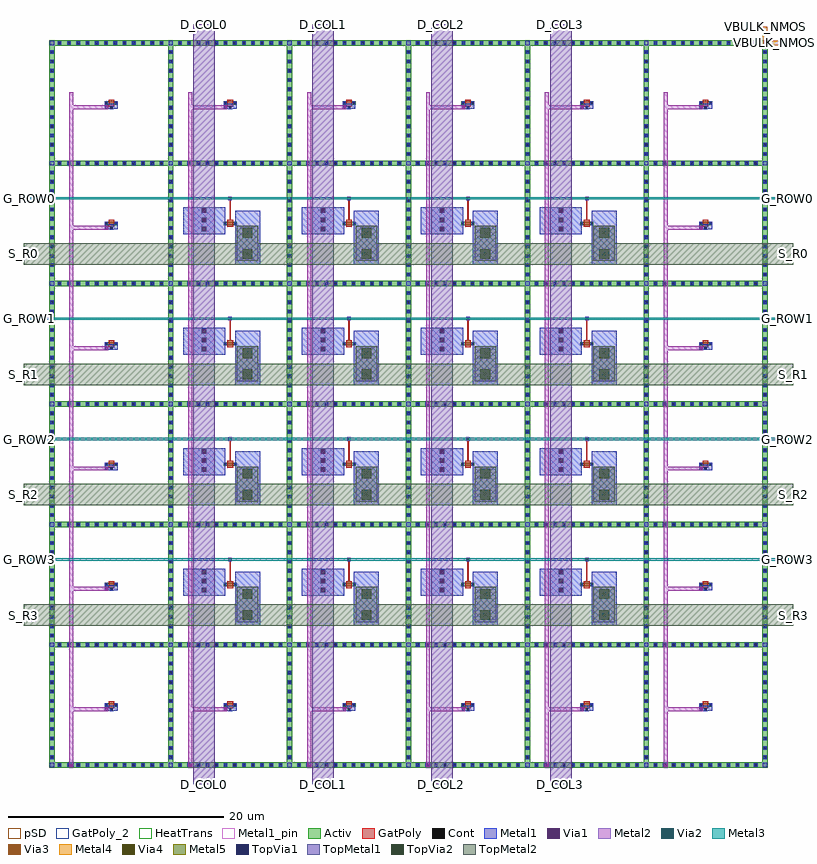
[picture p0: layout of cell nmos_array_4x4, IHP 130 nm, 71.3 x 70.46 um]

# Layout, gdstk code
import gdstk
lib = gdstk.Library(unit=1e-6, precision=1e-09)
def R(c, l, rs):  # rectangles x0, y0, x1, y1
    for r in rs: c.add(gdstk.rectangle(r[:2], r[2:], *l))
def A(c, l, x, y, w, h, nx, ny, dx, dy):  # array of equal rectangles
    R(c, l, [(x+i*dx, y+j*dy, x+i*dx+w, y+j*dy+h) for i in range(nx) for j in range(ny)])
Activ = (1, 0)
GatPoly = (5, 0)
GatPoly_2 = (5, 2)
Cont = (6, 0)
Metal1 = (8, 0)
Metal1_pin = (8, 2)
Metal2 = (10, 0)
pSD = (14, 0)
Via1 = (19, 0)
Via2 = (29, 0)
Metal3 = (30, 0)
Via3 = (49, 0)
Metal4 = (50, 0)
HeatTrans = (51, 0)
Via4 = (66, 0)
Metal5 = (67, 0)
TopVia1 = (125, 0)
TopMetal1 = (126, 0)
TopVia2 = (133, 0)
TopMetal2 = (134, 0)

nmos = lib.new_cell('nmos')
R(nmos, Activ, [(0,0,0.3,0.3), (0,0,1.2,0.3), (0.9,0,1.2,0.3)])
R(nmos, GatPoly, [(0.34,-0.18,0.86,0.48)])
R(nmos, GatPoly_2, [(0.34,-0.18,0.86,0.48)])
R(nmos, Cont, [(0.07,0.07,0.23,0.23), (0.97,0.07,1.13,0.23)])
R(nmos, Metal1, [(0.07,0,0.23,0.3), (0.97,0,1.13,0.3)])
R(nmos, Metal1_pin, [(0.07,0,0.23,0.3), (0.97,0,1.13,0.3)])
R(nmos, HeatTrans, [(0.34,-0.18,0.86,0.48)])
nmos.add(gdstk.Label('nmos', (0.6,0.15), layer=63, texttype=0))
nmos.add(gdstk.Label('nmos', (0.6,0.15), layer=51, texttype=0))

nmos_array_4x4 = lib.new_cell('nmos_array_4x4')
A(nmos_array_4x4, Activ, 0, 0, 0.5, 67.46, 7, 1, 11.02, 0)
A(nmos_array_4x4, Activ, 0, 0, 66.62, 0.5, 1, 7, 0, 11.16)
A(nmos_array_4x4, GatPoly, 5.695, 5.43, 0.13, 0.2, 6, 2, 11.02, 55.8)
A(nmos_array_4x4, GatPoly, 5.695, 16.59, 0.13, 0.2, 1, 4, 0, 11.16)
A(nmos_array_4x4, GatPoly, 60.795, 16.59, 0.13, 0.2, 1, 4, 0, 11.16)
A(nmos_array_4x4, GatPoly, 16.715, 17.32, 0.13, 2, 4, 4, 11.02, 11.16)
A(nmos_array_4x4, Cont, 0.858, 0.14, 0.22, 0.22, 1, 7, 0, 11.16)
A(nmos_array_4x4, Cont, 1.716, 0.14, 0.22, 0.22, 1, 7, 0, 11.16)
A(nmos_array_4x4, Cont, 2.575, 0.14, 0.22, 0.22, 3, 7, 0.858, 11.16)
A(nmos_array_4x4, Cont, 5.15, 0.14, 0.22, 0.22, 3, 7, 0.858, 11.16)
A(nmos_array_4x4, Cont, 7.725, 0.14, 0.22, 0.22, 3, 7, 0.858, 11.16)
A(nmos_array_4x4, Cont, 10.3, 0.14, 0.22, 0.22, 1, 7, 0, 11.16)
A(nmos_array_4x4, Cont, 12.02, 0.14, 0.22, 0.22, 3, 7, 0.845, 11.16)
A(nmos_array_4x4, Cont, 14.556, 0.14, 0.22, 0.22, 1, 7, 0, 11.16)
A(nmos_array_4x4, Cont, 15.401, 0.14, 0.22, 0.22, 1, 7, 0, 11.16)
A(nmos_array_4x4, Cont, 16.247, 0.14, 0.22, 0.22, 1, 7, 0, 11.16)
A(nmos_array_4x4, Cont, 17.092, 0.14, 0.22, 0.22, 1, 7, 0, 11.16)
A(nmos_array_4x4, Cont, 17.938, 0.14, 0.22, 0.22, 1, 7, 0, 11.16)
A(nmos_array_4x4, Cont, 18.783, 0.14, 0.22, 0.22, 1, 7, 0, 11.16)
A(nmos_array_4x4, Cont, 19.629, 0.14, 0.22, 0.22, 1, 7, 0, 11.16)
A(nmos_array_4x4, Cont, 20.474, 0.14, 0.22, 0.22, 1, 7, 0, 11.16)
A(nmos_array_4x4, Cont, 21.32, 0.14, 0.22, 0.22, 1, 7, 0, 11.16)
A(nmos_array_4x4, Cont, 23.04, 0.14, 0.22, 0.22, 3, 7, 0.845, 11.16)
A(nmos_array_4x4, Cont, 25.576, 0.14, 0.22, 0.22, 1, 7, 0, 11.16)
A(nmos_array_4x4, Cont, 26.421, 0.14, 0.22, 0.22, 1, 7, 0, 11.16)
A(nmos_array_4x4, Cont, 27.267, 0.14, 0.22, 0.22, 1, 7, 0, 11.16)
A(nmos_array_4x4, Cont, 28.112, 0.14, 0.22, 0.22, 1, 7, 0, 11.16)
A(nmos_array_4x4, Cont, 28.958, 0.14, 0.22, 0.22, 1, 7, 0, 11.16)
A(nmos_array_4x4, Cont, 29.803, 0.14, 0.22, 0.22, 1, 7, 0, 11.16)
A(nmos_array_4x4, Cont, 30.649, 0.14, 0.22, 0.22, 1, 7, 0, 11.16)
A(nmos_array_4x4, Cont, 31.494, 0.14, 0.22, 0.22, 1, 7, 0, 11.16)
A(nmos_array_4x4, Cont, 32.34, 0.14, 0.22, 0.22, 1, 7, 0, 11.16)
A(nmos_array_4x4, Cont, 34.06, 0.14, 0.22, 0.22, 3, 7, 0.845, 11.16)
A(nmos_array_4x4, Cont, 36.596, 0.14, 0.22, 0.22, 1, 7, 0, 11.16)
A(nmos_array_4x4, Cont, 37.441, 0.14, 0.22, 0.22, 1, 7, 0, 11.16)
A(nmos_array_4x4, Cont, 38.287, 0.14, 0.22, 0.22, 1, 7, 0, 11.16)
A(nmos_array_4x4, Cont, 39.132, 0.14, 0.22, 0.22, 1, 7, 0, 11.16)
A(nmos_array_4x4, Cont, 39.978, 0.14, 0.22, 0.22, 1, 7, 0, 11.16)
A(nmos_array_4x4, Cont, 40.823, 0.14, 0.22, 0.22, 1, 7, 0, 11.16)
A(nmos_array_4x4, Cont, 41.669, 0.14, 0.22, 0.22, 1, 7, 0, 11.16)
A(nmos_array_4x4, Cont, 42.514, 0.14, 0.22, 0.22, 1, 7, 0, 11.16)
A(nmos_array_4x4, Cont, 43.36, 0.14, 0.22, 0.22, 1, 7, 0, 11.16)
A(nmos_array_4x4, Cont, 45.08, 0.14, 0.22, 0.22, 3, 7, 0.845, 11.16)
A(nmos_array_4x4, Cont, 47.616, 0.14, 0.22, 0.22, 1, 7, 0, 11.16)
A(nmos_array_4x4, Cont, 48.461, 0.14, 0.22, 0.22, 1, 7, 0, 11.16)
A(nmos_array_4x4, Cont, 49.307, 0.14, 0.22, 0.22, 1, 7, 0, 11.16)
A(nmos_array_4x4, Cont, 50.152, 0.14, 0.22, 0.22, 1, 7, 0, 11.16)
A(nmos_array_4x4, Cont, 50.998, 0.14, 0.22, 0.22, 1, 7, 0, 11.16)
A(nmos_array_4x4, Cont, 51.843, 0.14, 0.22, 0.22, 1, 7, 0, 11.16)
A(nmos_array_4x4, Cont, 52.689, 0.14, 0.22, 0.22, 1, 7, 0, 11.16)
A(nmos_array_4x4, Cont, 53.534, 0.14, 0.22, 0.22, 1, 7, 0, 11.16)
A(nmos_array_4x4, Cont, 54.38, 0.14, 0.22, 0.22, 1, 7, 0, 11.16)
A(nmos_array_4x4, Cont, 56.1, 0.14, 0.22, 0.22, 3, 7, 0.845, 11.16)
A(nmos_array_4x4, Cont, 58.636, 0.14, 0.22, 0.22, 1, 7, 0, 11.16)
A(nmos_array_4x4, Cont, 59.481, 0.14, 0.22, 0.22, 1, 7, 0, 11.16)
A(nmos_array_4x4, Cont, 60.327, 0.14, 0.22, 0.22, 1, 7, 0, 11.16)
A(nmos_array_4x4, Cont, 61.172, 0.14, 0.22, 0.22, 1, 7, 0, 11.16)
A(nmos_array_4x4, Cont, 62.018, 0.14, 0.22, 0.22, 1, 7, 0, 11.16)
A(nmos_array_4x4, Cont, 62.863, 0.14, 0.22, 0.22, 1, 7, 0, 11.16)
A(nmos_array_4x4, Cont, 63.709, 0.14, 0.22, 0.22, 1, 7, 0, 11.16)
A(nmos_array_4x4, Cont, 64.554, 0.14, 0.22, 0.22, 1, 7, 0, 11.16)
A(nmos_array_4x4, Cont, 65.4, 0.14, 0.22, 0.22, 1, 7, 0, 11.16)
A(nmos_array_4x4, Cont, 0.14, 0.87, 0.22, 0.22, 7, 12, 11.02, 0.87)
A(nmos_array_4x4, Cont, 5.65, 5.32, 0.22, 0.22, 6, 2, 11.02, 55.8)
A(nmos_array_4x4, Cont, 0.14, 12.16, 0.22, 0.22, 7, 6, 11.02, 0.858)
A(nmos_array_4x4, Cont, 5.65, 16.48, 0.22, 0.22, 1, 4, 0, 11.16)
A(nmos_array_4x4, Cont, 60.75, 16.48, 0.22, 0.22, 1, 4, 0, 11.16)
A(nmos_array_4x4, Cont, 0.14, 17.309, 0.22, 0.22, 7, 5, 11.02, 0.858)
A(nmos_array_4x4, Cont, 16.67, 19.21, 0.22, 0.22, 4, 4, 11.02, 11.16)
A(nmos_array_4x4, Cont, 0.14, 21.6, 0.22, 0.22, 7, 2, 11.02, 1.72)
A(nmos_array_4x4, Cont, 0.14, 24.178, 0.22, 0.22, 7, 5, 11.02, 0.858)
A(nmos_array_4x4, Cont, 0.14, 28.469, 0.22, 0.22, 7, 5, 11.02, 0.858)
A(nmos_array_4x4, Cont, 0.14, 32.76, 0.22, 0.22, 7, 2, 11.02, 1.72)
A(nmos_array_4x4, Cont, 0.14, 35.338, 0.22, 0.22, 7, 5, 11.02, 0.858)
A(nmos_array_4x4, Cont, 0.14, 39.629, 0.22, 0.22, 7, 5, 11.02, 0.858)
A(nmos_array_4x4, Cont, 0.14, 43.92, 0.22, 0.22, 7, 2, 11.02, 1.72)
A(nmos_array_4x4, Cont, 0.14, 46.498, 0.22, 0.22, 7, 5, 11.02, 0.858)
A(nmos_array_4x4, Cont, 0.14, 50.789, 0.22, 0.22, 7, 5, 11.02, 0.858)
A(nmos_array_4x4, Cont, 0.14, 55.08, 0.22, 0.22, 7, 2, 11.02, 1.72)
A(nmos_array_4x4, Cont, 0.14, 57.658, 0.22, 0.22, 7, 5, 11.02, 0.858)
A(nmos_array_4x4, Cont, 0.14, 61.949, 0.22, 0.22, 7, 5, 11.02, 0.858)
A(nmos_array_4x4, Cont, 0.14, 66.24, 0.22, 0.22, 7, 1, 11.02, 0)
A(nmos_array_4x4, Metal1, 0.798, 0.08, 0.34, 0.34, 1, 7, 0, 11.16)
A(nmos_array_4x4, Metal1, 1.656, 0.08, 0.34, 0.34, 1, 7, 0, 11.16)
A(nmos_array_4x4, Metal1, 2.515, 0.08, 0.34, 0.34, 3, 7, 0.858, 11.16)
A(nmos_array_4x4, Metal1, 5.09, 0.08, 0.34, 0.34, 3, 7, 0.858, 11.16)
A(nmos_array_4x4, Metal1, 7.665, 0.08, 0.34, 0.34, 3, 7, 0.858, 11.16)
A(nmos_array_4x4, Metal1, 10.24, 0.08, 0.34, 0.34, 1, 7, 0, 11.16)
A(nmos_array_4x4, Metal1, 11.96, 0.08, 0.34, 0.34, 3, 7, 0.845, 11.16)
A(nmos_array_4x4, Metal1, 14.496, 0.08, 0.34, 0.34, 1, 7, 0, 11.16)
A(nmos_array_4x4, Metal1, 15.341, 0.08, 0.34, 0.34, 1, 7, 0, 11.16)
A(nmos_array_4x4, Metal1, 16.187, 0.08, 0.34, 0.34, 1, 7, 0, 11.16)
A(nmos_array_4x4, Metal1, 17.032, 0.08, 0.34, 0.34, 1, 7, 0, 11.16)
A(nmos_array_4x4, Metal1, 17.878, 0.08, 0.34, 0.34, 1, 7, 0, 11.16)
A(nmos_array_4x4, Metal1, 18.723, 0.08, 0.34, 0.34, 1, 7, 0, 11.16)
A(nmos_array_4x4, Metal1, 19.569, 0.08, 0.34, 0.34, 1, 7, 0, 11.16)
A(nmos_array_4x4, Metal1, 20.414, 0.08, 0.34, 0.34, 1, 7, 0, 11.16)
A(nmos_array_4x4, Metal1, 21.26, 0.08, 0.34, 0.34, 1, 7, 0, 11.16)
A(nmos_array_4x4, Metal1, 22.98, 0.08, 0.34, 0.34, 3, 7, 0.845, 11.16)
A(nmos_array_4x4, Metal1, 25.516, 0.08, 0.34, 0.34, 1, 7, 0, 11.16)
A(nmos_array_4x4, Metal1, 26.361, 0.08, 0.34, 0.34, 1, 7, 0, 11.16)
A(nmos_array_4x4, Metal1, 27.207, 0.08, 0.34, 0.34, 1, 7, 0, 11.16)
A(nmos_array_4x4, Metal1, 28.052, 0.08, 0.34, 0.34, 1, 7, 0, 11.16)
A(nmos_array_4x4, Metal1, 28.898, 0.08, 0.34, 0.34, 1, 7, 0, 11.16)
A(nmos_array_4x4, Metal1, 29.743, 0.08, 0.34, 0.34, 1, 7, 0, 11.16)
A(nmos_array_4x4, Metal1, 30.589, 0.08, 0.34, 0.34, 1, 7, 0, 11.16)
A(nmos_array_4x4, Metal1, 31.434, 0.08, 0.34, 0.34, 1, 7, 0, 11.16)
A(nmos_array_4x4, Metal1, 32.28, 0.08, 0.34, 0.34, 1, 7, 0, 11.16)
A(nmos_array_4x4, Metal1, 34, 0.08, 0.34, 0.34, 3, 7, 0.845, 11.16)
A(nmos_array_4x4, Metal1, 36.536, 0.08, 0.34, 0.34, 1, 7, 0, 11.16)
A(nmos_array_4x4, Metal1, 37.381, 0.08, 0.34, 0.34, 1, 7, 0, 11.16)
A(nmos_array_4x4, Metal1, 38.227, 0.08, 0.34, 0.34, 1, 7, 0, 11.16)
A(nmos_array_4x4, Metal1, 39.072, 0.08, 0.34, 0.34, 1, 7, 0, 11.16)
A(nmos_array_4x4, Metal1, 39.918, 0.08, 0.34, 0.34, 1, 7, 0, 11.16)
A(nmos_array_4x4, Metal1, 40.763, 0.08, 0.34, 0.34, 1, 7, 0, 11.16)
A(nmos_array_4x4, Metal1, 41.609, 0.08, 0.34, 0.34, 1, 7, 0, 11.16)
A(nmos_array_4x4, Metal1, 42.454, 0.08, 0.34, 0.34, 1, 7, 0, 11.16)
A(nmos_array_4x4, Metal1, 43.3, 0.08, 0.34, 0.34, 1, 7, 0, 11.16)
A(nmos_array_4x4, Metal1, 45.02, 0.08, 0.34, 0.34, 3, 7, 0.845, 11.16)
A(nmos_array_4x4, Metal1, 47.556, 0.08, 0.34, 0.34, 1, 7, 0, 11.16)
A(nmos_array_4x4, Metal1, 48.401, 0.08, 0.34, 0.34, 1, 7, 0, 11.16)
A(nmos_array_4x4, Metal1, 49.247, 0.08, 0.34, 0.34, 1, 7, 0, 11.16)
A(nmos_array_4x4, Metal1, 50.092, 0.08, 0.34, 0.34, 1, 7, 0, 11.16)
A(nmos_array_4x4, Metal1, 50.938, 0.08, 0.34, 0.34, 1, 7, 0, 11.16)
A(nmos_array_4x4, Metal1, 51.783, 0.08, 0.34, 0.34, 1, 7, 0, 11.16)
A(nmos_array_4x4, Metal1, 52.629, 0.08, 0.34, 0.34, 1, 7, 0, 11.16)
A(nmos_array_4x4, Metal1, 53.474, 0.08, 0.34, 0.34, 1, 7, 0, 11.16)
A(nmos_array_4x4, Metal1, 54.32, 0.08, 0.34, 0.34, 1, 7, 0, 11.16)
A(nmos_array_4x4, Metal1, 56.04, 0.08, 0.34, 0.34, 3, 7, 0.845, 11.16)
A(nmos_array_4x4, Metal1, 58.576, 0.08, 0.34, 0.34, 1, 7, 0, 11.16)
A(nmos_array_4x4, Metal1, 59.421, 0.08, 0.34, 0.34, 1, 7, 0, 11.16)
A(nmos_array_4x4, Metal1, 60.267, 0.08, 0.34, 0.34, 1, 7, 0, 11.16)
A(nmos_array_4x4, Metal1, 61.112, 0.08, 0.34, 0.34, 1, 7, 0, 11.16)
A(nmos_array_4x4, Metal1, 61.958, 0.08, 0.34, 0.34, 1, 7, 0, 11.16)
A(nmos_array_4x4, Metal1, 62.803, 0.08, 0.34, 0.34, 1, 7, 0, 11.16)
A(nmos_array_4x4, Metal1, 63.649, 0.08, 0.34, 0.34, 1, 7, 0, 11.16)
A(nmos_array_4x4, Metal1, 64.494, 0.08, 0.34, 0.34, 1, 7, 0, 11.16)
A(nmos_array_4x4, Metal1, 65.34, 0.08, 0.34, 0.34, 1, 7, 0, 11.16)
A(nmos_array_4x4, Metal1, 0.08, 0.81, 0.34, 0.34, 7, 12, 11.02, 0.87)
A(nmos_array_4x4, Metal1, 5.59, 5.26, 0.34, 0.34, 6, 2, 11.02, 55.8)
A(nmos_array_4x4, Metal1, 5.17, 5.29, 0.28, 0.68, 1, 6, 0, 11.16)
A(nmos_array_4x4, Metal1, 5.17, 5.29, 1.18, 0.48, 6, 2, 11.02, 55.8)
A(nmos_array_4x4, Metal1, 6.07, 5.29, 0.28, 0.68, 1, 6, 0, 11.16)
A(nmos_array_4x4, Metal1, 60.27, 5.29, 0.28, 0.68, 1, 6, 0, 11.16)
A(nmos_array_4x4, Metal1, 61.17, 5.29, 0.28, 0.68, 1, 6, 0, 11.16)
A(nmos_array_4x4, Metal1, 0.05, 11.21, 0.4, 0.4, 7, 6, 11.02, 11.16)
A(nmos_array_4x4, Metal1, 0.08, 12.1, 0.34, 0.34, 7, 6, 11.02, 0.858)
A(nmos_array_4x4, Metal1, 17.23, 13.16, 2.32, 5.02, 4, 4, 11.02, 11.16)
A(nmos_array_4x4, Metal1, 12.41, 15.971, 3.92, 2.499, 4, 4, 11.02, 11.16)
A(nmos_array_4x4, Metal1, 5.59, 16.42, 0.34, 0.34, 1, 4, 0, 11.16)
A(nmos_array_4x4, Metal1, 60.69, 16.42, 0.34, 0.34, 1, 4, 0, 11.16)
A(nmos_array_4x4, Metal1, 5.17, 16.45, 1.18, 0.48, 1, 4, 0, 11.16)
A(nmos_array_4x4, Metal1, 60.27, 16.45, 1.18, 0.48, 1, 4, 0, 11.16)
A(nmos_array_4x4, Metal1, 0.08, 17.249, 0.34, 0.34, 7, 5, 11.02, 0.858)
A(nmos_array_4x4, Metal1, 16.62, 19.16, 0.32, 0.32, 4, 4, 11.02, 11.16)
A(nmos_array_4x4, Metal1, 0.08, 21.54, 0.34, 0.34, 7, 2, 11.02, 1.72)
A(nmos_array_4x4, Metal1, 0.08, 24.118, 0.34, 0.34, 7, 5, 11.02, 0.858)
A(nmos_array_4x4, Metal1, 0.08, 28.409, 0.34, 0.34, 7, 5, 11.02, 0.858)
A(nmos_array_4x4, Metal1, 0.08, 32.7, 0.34, 0.34, 7, 2, 11.02, 1.72)
A(nmos_array_4x4, Metal1, 0.08, 35.278, 0.34, 0.34, 7, 5, 11.02, 0.858)
A(nmos_array_4x4, Metal1, 0.08, 39.569, 0.34, 0.34, 7, 5, 11.02, 0.858)
A(nmos_array_4x4, Metal1, 0.08, 43.86, 0.34, 0.34, 7, 2, 11.02, 1.72)
A(nmos_array_4x4, Metal1, 0.08, 46.438, 0.34, 0.34, 7, 5, 11.02, 0.858)
A(nmos_array_4x4, Metal1, 0.08, 50.729, 0.34, 0.34, 7, 5, 11.02, 0.858)
A(nmos_array_4x4, Metal1, 0.08, 55.02, 0.34, 0.34, 7, 2, 11.02, 1.72)
A(nmos_array_4x4, Metal1, 0.08, 57.598, 0.34, 0.34, 7, 5, 11.02, 0.858)
A(nmos_array_4x4, Metal1, 0.08, 61.889, 0.34, 0.34, 7, 5, 11.02, 0.858)
A(nmos_array_4x4, Metal1, 0.08, 66.18, 0.34, 0.34, 7, 1, 11.02, 0)
R(nmos_array_4x4, Metal1, [(0.05,0.05,0.45,0.45), (1.86,0.05,2.26,0.45), (11.07,0.05,11.47,0.45), (12.88,0.05,13.28,0.45), (22.09,0.05,22.49,0.45), (23.9,0.05,24.3,0.45), (33.11,0.05,33.51,0.45), (34.92,0.05,35.32,0.45), (44.13,0.05,44.53,0.45), (45.94,0.05,46.34,0.45), (55.15,0.05,55.55,0.45), (56.96,0.05,57.36,0.45), (66.17,0.05,66.57,0.45), (16.19,5.29,16.47,5.97), (17.09,5.29,17.37,5.97), (27.21,5.29,27.49,5.97), (28.11,5.29,28.39,5.97), (38.23,5.29,38.51,5.97), (39.13,5.29,39.41,5.97), (49.25,5.29,49.53,5.97), (50.15,5.29,50.43,5.97), (16.19,61.09,16.47,61.77), (17.09,61.09,17.37,61.77), (27.21,61.09,27.49,61.77), (28.11,61.09,28.39,61.77), (38.23,61.09,38.51,61.77), (39.13,61.09,39.41,61.77), (49.25,61.09,49.53,61.77), (50.15,61.09,50.43,61.77)])
A(nmos_array_4x4, Metal2, 1.88, 0.07, 0.36, 62.56, 6, 1, 11.02, 0)
A(nmos_array_4x4, Metal2, 1.88, 5.25, 3.61, 0.36, 6, 2, 11.02, 55.8)
A(nmos_array_4x4, Metal2, 18.235, 14.005, 0.31, 0.31, 4, 2, 11.02, 1.96)
A(nmos_array_4x4, Metal2, 14.215, 16.335, 0.31, 0.31, 4, 3, 11.02, 0.84)
A(nmos_array_4x4, Metal2, 1.88, 16.41, 3.61, 0.36, 1, 4, 0, 11.16)
A(nmos_array_4x4, Metal2, 56.98, 16.41, 3.61, 0.36, 1, 4, 0, 11.16)
A(nmos_array_4x4, Metal2, 16.635, 19.175, 0.29, 0.29, 4, 4, 11.02, 11.16)
A(nmos_array_4x4, Metal2, 18.235, 25.165, 0.31, 0.31, 4, 2, 11.02, 1.96)
A(nmos_array_4x4, Metal2, 14.215, 27.495, 0.31, 0.31, 4, 3, 11.02, 0.84)
A(nmos_array_4x4, Metal2, 18.235, 36.325, 0.31, 0.31, 4, 2, 11.02, 1.96)
A(nmos_array_4x4, Metal2, 14.215, 38.655, 0.31, 0.31, 4, 3, 11.02, 0.84)
A(nmos_array_4x4, Metal2, 18.235, 47.485, 0.31, 0.31, 4, 2, 11.02, 1.96)
A(nmos_array_4x4, Metal2, 14.215, 49.815, 0.31, 0.31, 4, 3, 11.02, 0.84)
R(nmos_array_4x4, Metal2, [(66.19,67.03,66.55,67.39)])
A(nmos_array_4x4, pSD, 0, 0, 0.5, 67.46, 7, 1, 11.02, 0)
A(nmos_array_4x4, pSD, 0, 0, 66.62, 0.5, 1, 7, 0, 11.16)
A(nmos_array_4x4, Via1, 1.965, 0.155, 0.19, 0.19, 6, 1, 11.02, 0)
A(nmos_array_4x4, Via1, 5.215, 5.335, 0.19, 0.19, 6, 2, 11.02, 55.8)
A(nmos_array_4x4, Via1, 18.295, 14.065, 0.19, 0.19, 4, 2, 11.02, 1.96)
A(nmos_array_4x4, Via1, 14.275, 16.395, 0.19, 0.19, 4, 3, 11.02, 0.84)
A(nmos_array_4x4, Via1, 5.215, 16.495, 0.19, 0.19, 1, 4, 0, 11.16)
A(nmos_array_4x4, Via1, 60.315, 16.495, 0.19, 0.19, 1, 4, 0, 11.16)
A(nmos_array_4x4, Via1, 16.685, 19.225, 0.19, 0.19, 4, 4, 11.02, 11.16)
A(nmos_array_4x4, Via1, 18.295, 25.225, 0.19, 0.19, 4, 2, 11.02, 1.96)
A(nmos_array_4x4, Via1, 14.275, 27.555, 0.19, 0.19, 4, 3, 11.02, 0.84)
A(nmos_array_4x4, Via1, 18.295, 36.385, 0.19, 0.19, 4, 2, 11.02, 1.96)
A(nmos_array_4x4, Via1, 14.275, 38.715, 0.19, 0.19, 4, 3, 11.02, 0.84)
A(nmos_array_4x4, Via1, 18.295, 47.545, 0.19, 0.19, 4, 2, 11.02, 1.96)
A(nmos_array_4x4, Via1, 14.275, 49.875, 0.19, 0.19, 4, 3, 11.02, 0.84)
R(nmos_array_4x4, Via1, [(66.275,67.115,66.465,67.305)])
A(nmos_array_4x4, Via2, 18.295, 14.065, 0.19, 0.19, 4, 2, 11.02, 1.96)
A(nmos_array_4x4, Via2, 14.275, 16.395, 0.19, 0.19, 4, 3, 11.02, 0.84)
A(nmos_array_4x4, Via2, 16.685, 19.225, 0.19, 0.19, 4, 4, 11.02, 11.16)
A(nmos_array_4x4, Via2, 18.295, 25.225, 0.19, 0.19, 4, 2, 11.02, 1.96)
A(nmos_array_4x4, Via2, 14.275, 27.555, 0.19, 0.19, 4, 3, 11.02, 0.84)
A(nmos_array_4x4, Via2, 18.295, 36.385, 0.19, 0.19, 4, 2, 11.02, 1.96)
A(nmos_array_4x4, Via2, 14.275, 38.715, 0.19, 0.19, 4, 3, 11.02, 0.84)
A(nmos_array_4x4, Via2, 18.295, 47.545, 0.19, 0.19, 4, 2, 11.02, 1.96)
A(nmos_array_4x4, Via2, 14.275, 49.875, 0.19, 0.19, 4, 3, 11.02, 0.84)
R(nmos_array_4x4, Via2, [(66.275,67.115,66.465,67.305)])
A(nmos_array_4x4, Metal3, 18.235, 14.005, 0.31, 0.31, 4, 2, 11.02, 1.96)
A(nmos_array_4x4, Metal3, 14.215, 16.335, 0.31, 0.31, 4, 3, 11.02, 0.84)
A(nmos_array_4x4, Metal3, -1.94, 19.22, 70.5, 0.2, 1, 4, 0, 11.16)
A(nmos_array_4x4, Metal3, 16.68, 19.22, 0.2, 0.2, 4, 4, 11.02, 11.16)
A(nmos_array_4x4, Metal3, 18.235, 25.165, 0.31, 0.31, 4, 2, 11.02, 1.96)
A(nmos_array_4x4, Metal3, 14.215, 27.495, 0.31, 0.31, 4, 3, 11.02, 0.84)
A(nmos_array_4x4, Metal3, 18.235, 36.325, 0.31, 0.31, 4, 2, 11.02, 1.96)
A(nmos_array_4x4, Metal3, 14.215, 38.655, 0.31, 0.31, 4, 3, 11.02, 0.84)
A(nmos_array_4x4, Metal3, 18.235, 47.485, 0.31, 0.31, 4, 2, 11.02, 1.96)
A(nmos_array_4x4, Metal3, 14.215, 49.815, 0.31, 0.31, 4, 3, 11.02, 0.84)
R(nmos_array_4x4, Metal3, [(66.27,67.11,66.47,67.31)])
A(nmos_array_4x4, Via3, 18.295, 14.065, 0.19, 0.19, 4, 2, 11.02, 1.96)
A(nmos_array_4x4, Via3, 14.275, 16.395, 0.19, 0.19, 4, 3, 11.02, 0.84)
A(nmos_array_4x4, Via3, 18.295, 25.225, 0.19, 0.19, 4, 2, 11.02, 1.96)
A(nmos_array_4x4, Via3, 14.275, 27.555, 0.19, 0.19, 4, 3, 11.02, 0.84)
A(nmos_array_4x4, Via3, 18.295, 36.385, 0.19, 0.19, 4, 2, 11.02, 1.96)
A(nmos_array_4x4, Via3, 14.275, 38.715, 0.19, 0.19, 4, 3, 11.02, 0.84)
A(nmos_array_4x4, Via3, 18.295, 47.545, 0.19, 0.19, 4, 2, 11.02, 1.96)
A(nmos_array_4x4, Via3, 14.275, 49.875, 0.19, 0.19, 4, 3, 11.02, 0.84)
R(nmos_array_4x4, Via3, [(66.275,67.115,66.465,67.305)])
A(nmos_array_4x4, Metal4, 18.235, 14.005, 0.31, 0.31, 4, 2, 11.02, 1.96)
A(nmos_array_4x4, Metal4, 14.215, 16.335, 0.31, 0.31, 4, 3, 11.02, 0.84)
A(nmos_array_4x4, Metal4, 18.235, 25.165, 0.31, 0.31, 4, 2, 11.02, 1.96)
A(nmos_array_4x4, Metal4, 14.215, 27.495, 0.31, 0.31, 4, 3, 11.02, 0.84)
A(nmos_array_4x4, Metal4, 18.235, 36.325, 0.31, 0.31, 4, 2, 11.02, 1.96)
A(nmos_array_4x4, Metal4, 14.215, 38.655, 0.31, 0.31, 4, 3, 11.02, 0.84)
A(nmos_array_4x4, Metal4, 18.235, 47.485, 0.31, 0.31, 4, 2, 11.02, 1.96)
A(nmos_array_4x4, Metal4, 14.215, 49.815, 0.31, 0.31, 4, 3, 11.02, 0.84)
R(nmos_array_4x4, Metal4, [(66.17,67.01,67.87,67.41), (66.17,67.01,66.57,68.71)])
A(nmos_array_4x4, Via4, 18.295, 14.065, 0.19, 0.19, 4, 2, 11.02, 1.96)
A(nmos_array_4x4, Via4, 14.275, 16.395, 0.19, 0.19, 4, 3, 11.02, 0.84)
A(nmos_array_4x4, Via4, 18.295, 25.225, 0.19, 0.19, 4, 2, 11.02, 1.96)
A(nmos_array_4x4, Via4, 14.275, 27.555, 0.19, 0.19, 4, 3, 11.02, 0.84)
A(nmos_array_4x4, Via4, 18.295, 36.385, 0.19, 0.19, 4, 2, 11.02, 1.96)
A(nmos_array_4x4, Via4, 14.275, 38.715, 0.19, 0.19, 4, 3, 11.02, 0.84)
A(nmos_array_4x4, Via4, 18.295, 47.545, 0.19, 0.19, 4, 2, 11.02, 1.96)
A(nmos_array_4x4, Via4, 14.275, 49.875, 0.19, 0.19, 4, 3, 11.02, 0.84)
A(nmos_array_4x4, Metal5, 18.235, 14.005, 0.31, 0.31, 4, 2, 11.02, 1.96)
A(nmos_array_4x4, Metal5, 14.215, 16.335, 0.31, 0.31, 4, 3, 11.02, 0.84)
A(nmos_array_4x4, Metal5, 18.235, 25.165, 0.31, 0.31, 4, 2, 11.02, 1.96)
A(nmos_array_4x4, Metal5, 14.215, 27.495, 0.31, 0.31, 4, 3, 11.02, 0.84)
A(nmos_array_4x4, Metal5, 18.235, 36.325, 0.31, 0.31, 4, 2, 11.02, 1.96)
A(nmos_array_4x4, Metal5, 14.215, 38.655, 0.31, 0.31, 4, 3, 11.02, 0.84)
A(nmos_array_4x4, Metal5, 18.235, 47.485, 0.31, 0.31, 4, 2, 11.02, 1.96)
A(nmos_array_4x4, Metal5, 14.215, 49.815, 0.31, 0.31, 4, 3, 11.02, 0.84)
A(nmos_array_4x4, TopVia1, 18.18, 13.95, 0.42, 0.42, 4, 2, 11.02, 1.96)
A(nmos_array_4x4, TopVia1, 14.16, 16.28, 0.42, 0.42, 4, 3, 11.02, 0.84)
A(nmos_array_4x4, TopVia1, 18.18, 25.11, 0.42, 0.42, 4, 2, 11.02, 1.96)
A(nmos_array_4x4, TopVia1, 14.16, 27.44, 0.42, 0.42, 4, 3, 11.02, 0.84)
A(nmos_array_4x4, TopVia1, 18.18, 36.27, 0.42, 0.42, 4, 2, 11.02, 1.96)
A(nmos_array_4x4, TopVia1, 14.16, 38.6, 0.42, 0.42, 4, 3, 11.02, 0.84)
A(nmos_array_4x4, TopVia1, 18.18, 47.43, 0.42, 0.42, 4, 2, 11.02, 1.96)
A(nmos_array_4x4, TopVia1, 14.16, 49.76, 0.42, 0.42, 4, 3, 11.02, 0.84)
A(nmos_array_4x4, TopMetal1, 13.37, -1.5, 2, 70.46, 4, 1, 11.02, 0)
A(nmos_array_4x4, TopMetal1, 17.39, 13.51, 2, 3.26, 4, 4, 11.02, 11.16)
A(nmos_array_4x4, TopMetal1, 13.37, 16.18, 2, 2.3, 4, 4, 11.02, 11.16)
A(nmos_array_4x4, TopVia2, 17.94, 13.71, 0.9, 0.9, 4, 2, 11.02, 1.96)
A(nmos_array_4x4, TopVia2, 17.94, 24.87, 0.9, 0.9, 4, 2, 11.02, 1.96)
A(nmos_array_4x4, TopVia2, 17.94, 36.03, 0.9, 0.9, 4, 2, 11.02, 1.96)
A(nmos_array_4x4, TopVia2, 17.94, 47.19, 0.9, 0.9, 4, 2, 11.02, 1.96)
A(nmos_array_4x4, TopMetal2, -2.34, 13.16, 71.3, 2, 1, 4, 0, 11.16)
A(nmos_array_4x4, TopMetal2, 17.39, 13.51, 2, 3.26, 4, 4, 11.02, 11.16)
nmos_array_4x4.add(gdstk.Reference(nmos, (5.16,5.68)))
nmos_array_4x4.add(gdstk.Reference(nmos, (16.18,5.68)))
nmos_array_4x4.add(gdstk.Reference(nmos, (27.2,5.68)))
nmos_array_4x4.add(gdstk.Reference(nmos, (38.22,5.68)))
nmos_array_4x4.add(gdstk.Reference(nmos, (49.24,5.68)))
nmos_array_4x4.add(gdstk.Reference(nmos, (60.26,5.68)))
nmos_array_4x4.add(gdstk.Reference(nmos, (5.16,16.84)))
nmos_array_4x4.add(gdstk.Reference(nmos, (16.18,16.84)))
nmos_array_4x4.add(gdstk.Reference(nmos, (27.2,16.84)))
nmos_array_4x4.add(gdstk.Reference(nmos, (38.22,16.84)))
nmos_array_4x4.add(gdstk.Reference(nmos, (49.24,16.84)))
nmos_array_4x4.add(gdstk.Reference(nmos, (60.26,16.84)))
nmos_array_4x4.add(gdstk.Reference(nmos, (5.16,28)))
nmos_array_4x4.add(gdstk.Reference(nmos, (16.18,28)))
nmos_array_4x4.add(gdstk.Reference(nmos, (27.2,28)))
nmos_array_4x4.add(gdstk.Reference(nmos, (38.22,28)))
nmos_array_4x4.add(gdstk.Reference(nmos, (49.24,28)))
nmos_array_4x4.add(gdstk.Reference(nmos, (60.26,28)))
nmos_array_4x4.add(gdstk.Reference(nmos, (5.16,39.16)))
nmos_array_4x4.add(gdstk.Reference(nmos, (16.18,39.16)))
nmos_array_4x4.add(gdstk.Reference(nmos, (27.2,39.16)))
nmos_array_4x4.add(gdstk.Reference(nmos, (38.22,39.16)))
nmos_array_4x4.add(gdstk.Reference(nmos, (49.24,39.16)))
nmos_array_4x4.add(gdstk.Reference(nmos, (60.26,39.16)))
nmos_array_4x4.add(gdstk.Reference(nmos, (5.16,50.32)))
nmos_array_4x4.add(gdstk.Reference(nmos, (16.18,50.32)))
nmos_array_4x4.add(gdstk.Reference(nmos, (27.2,50.32)))
nmos_array_4x4.add(gdstk.Reference(nmos, (38.22,50.32)))
nmos_array_4x4.add(gdstk.Reference(nmos, (49.24,50.32)))
nmos_array_4x4.add(gdstk.Reference(nmos, (60.26,50.32)))
nmos_array_4x4.add(gdstk.Reference(nmos, (5.16,61.48)))
nmos_array_4x4.add(gdstk.Reference(nmos, (16.18,61.48)))
nmos_array_4x4.add(gdstk.Reference(nmos, (27.2,61.48)))
nmos_array_4x4.add(gdstk.Reference(nmos, (38.22,61.48)))
nmos_array_4x4.add(gdstk.Reference(nmos, (49.24,61.48)))
nmos_array_4x4.add(gdstk.Reference(nmos, (60.26,61.48)))
nmos_array_4x4.add(gdstk.Label('VBULK_NMOS', (67.87,67.21), layer=63, texttype=0))
nmos_array_4x4.add(gdstk.Label('VBULK_NMOS', (66.37,68.71), layer=63, texttype=0))
nmos_array_4x4.add(gdstk.Label('G_ROW3', (-1.84,19.32), layer=63, texttype=0))
nmos_array_4x4.add(gdstk.Label('G_ROW3', (68.46,19.32), layer=63, texttype=0))
nmos_array_4x4.add(gdstk.Label('G_ROW2', (-1.84,30.48), layer=63, texttype=0))
nmos_array_4x4.add(gdstk.Label('G_ROW2', (68.46,30.48), layer=63, texttype=0))
nmos_array_4x4.add(gdstk.Label('G_ROW1', (-1.84,41.64), layer=63, texttype=0))
nmos_array_4x4.add(gdstk.Label('G_ROW1', (68.46,41.64), layer=63, texttype=0))
nmos_array_4x4.add(gdstk.Label('G_ROW0', (-1.84,52.8), layer=63, texttype=0))
nmos_array_4x4.add(gdstk.Label('G_ROW0', (68.46,52.8), layer=63, texttype=0))
nmos_array_4x4.add(gdstk.Label('D_COL0', (14.37,-1.5), layer=63, texttype=0))
nmos_array_4x4.add(gdstk.Label('D_COL0', (14.37,68.96), layer=63, texttype=0))
nmos_array_4x4.add(gdstk.Label('D_COL1', (25.39,-1.5), layer=63, texttype=0))
nmos_array_4x4.add(gdstk.Label('D_COL1', (25.39,68.96), layer=63, texttype=0))
nmos_array_4x4.add(gdstk.Label('D_COL2', (36.41,-1.5), layer=63, texttype=0))
nmos_array_4x4.add(gdstk.Label('D_COL2', (36.41,68.96), layer=63, texttype=0))
nmos_array_4x4.add(gdstk.Label('D_COL3', (47.43,-1.5), layer=63, texttype=0))
nmos_array_4x4.add(gdstk.Label('D_COL3', (47.43,68.96), layer=63, texttype=0))
nmos_array_4x4.add(gdstk.Label('S_R3', (-2.34,14.16), layer=63, texttype=0))
nmos_array_4x4.add(gdstk.Label('S_R3', (68.96,14.16), layer=63, texttype=0))
nmos_array_4x4.add(gdstk.Label('S_R2', (-2.34,25.32), layer=63, texttype=0))
nmos_array_4x4.add(gdstk.Label('S_R2', (68.96,25.32), layer=63, texttype=0))
nmos_array_4x4.add(gdstk.Label('S_R1', (-2.34,36.48), layer=63, texttype=0))
nmos_array_4x4.add(gdstk.Label('S_R1', (68.96,36.48), layer=63, texttype=0))
nmos_array_4x4.add(gdstk.Label('S_R0', (-2.34,47.64), layer=63, texttype=0))
nmos_array_4x4.add(gdstk.Label('S_R0', (68.96,47.64), layer=63, texttype=0))

lib.write_gds('nmos_array_4x4.gds')
